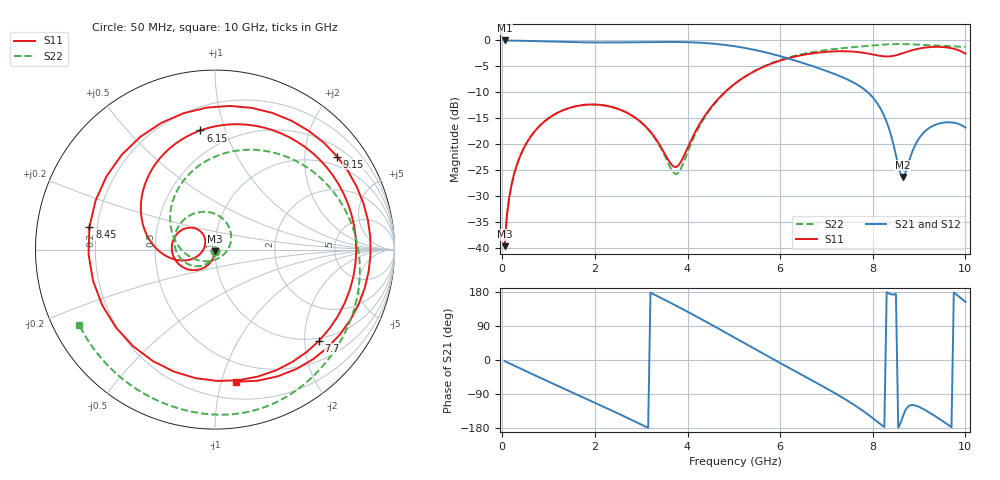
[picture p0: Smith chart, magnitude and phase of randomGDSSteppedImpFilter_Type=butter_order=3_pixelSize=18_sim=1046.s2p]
! freq	dB(S11)	phase(S11)	dB(S12)	phase(S12)
!  dB(S21)	phase(S21)	dB(S22)	phase(S22)
!S-par simulation data
#  GHz  S  DB  R 50
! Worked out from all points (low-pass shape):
!   200 points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, 50 MHz to 10 GHz, reference 50 ohm
!   highest |S21| = 0.00 dB at 50 MHz (marker M1); lowest = -26.3 dB at 8.65 GHz (marker M2)
!   |S21| within 3 dB of the highest: start of sweep to 5.988 GHz
!   lowest |S11| = -39.7 dB at 50 MHz (marker M3), VSWR 1.02, Z = 50 - j1.04 ohm
!   |S11| at or under -10 dB: start of sweep to 4.803 GHz
!   |S22| runs from -39.7 to -0.7 dB; largest |S21 - S12| = 0
!   S11 on the Smith chart (normalised r, x): 50 MHz: 1.00, -0.02; 6.15 GHz: 0.34, +0.82; 7.7 GHz: 0.93, -2.33; 8.45 GHz: 0.17, +0.09; 9.15 GHz: 0.72, +2.80; 10 GHz: 0.34, -1.12
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0.05  -39.66 -92.1  -0.00 -2.9  -0.00 -2.9  -39.67 -92.8
0.2  -27.82 -100.2  -0.03 -11.6  -0.03 -11.6  -27.83 -103.1
0.5  -20.17 -115.7  -0.08 -28.8  -0.08 -28.8  -20.18 -122.8
1.75  -12.45 -175.8  -0.37 -98.9  -0.37 -98.9  -12.45 156.7
2.7  -13.98 143.4  -0.36 -152.6  -0.36 -152.6  -13.97 90.8
3.4  -20.17 129.0  -0.29 165.5  -0.29 165.5  -20.37 24.5
3.8  -24.12 174.8  -0.30 140.3  -0.30 140.3  -25.55 -75.4
4.45  -13.57 -163.6  -0.55 97.6  -0.55 97.6  -13.78 174.3
5.05  -8.15 167.4  -1.16 56.8  -1.16 56.8  -8.18 122.9
5.6  -5.25 133.9  -2.12 19.1  -2.12 19.1  -5.20 81.6
6.15  -3.49 97.0  -3.41 -18.0  -3.41 -18.0  -3.36 44.5
6.7  -2.49 56.6  -4.96 -54.6  -4.96 -54.6  -2.25 11.5
7.3  -2.08 4.6  -6.92 -95.8  -6.92 -95.8  -1.53 -20.1
7.7  -2.26 -41.3  -8.71 -126.7  -8.71 -126.7  -1.20 -39.3
8.05  -2.80 -98.5  -11.54 -158.2  -11.54 -158.2  -0.93 -55.4
8.35  -3.08 -165.8  -17.00 175.6  -17.00 175.6  -0.74 -69.5
8.45  -2.96 169.8  -20.15 172.5  -20.15 172.5  -0.71 -74.4
8.65  -2.45 123.5  -26.35 -149.0  -26.35 -149.0  -0.70 -84.0
8.9  -1.77 75.4  -20.48 -119.4  -20.48 -119.4  -0.78 -95.8
9.15  -1.35 37.3  -17.34 -133.5  -17.34 -133.5  -0.88 -107.5
9.55  -1.30 -14.4  -15.82 -164.5  -15.82 -164.5  -1.06 -126.7
10  -2.55 -80.9  -16.80 153.3  -16.80 153.3  -1.26 -150.8
